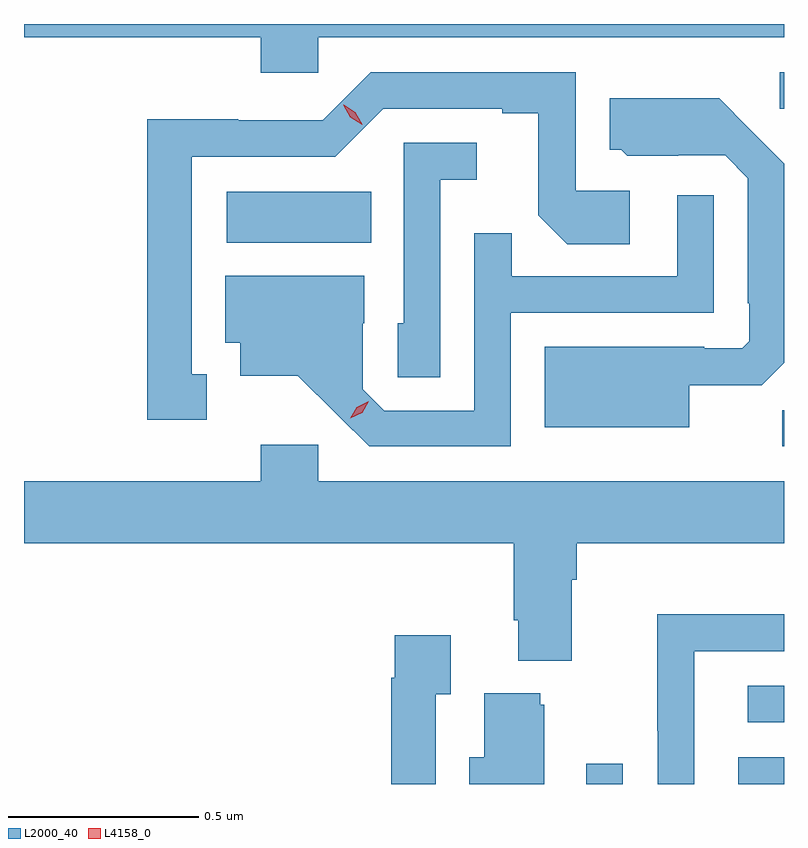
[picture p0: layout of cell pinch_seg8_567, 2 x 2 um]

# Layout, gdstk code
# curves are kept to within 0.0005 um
import gdstk
lib = gdstk.Library(unit=1e-6, precision=1e-09)
def R(c, l, rs):  # rectangles x0, y0, x1, y1
    for r in rs: c.add(gdstk.rectangle(r[:2], r[2:], *l))
def P(c, l, *ps):  # polygons
    for p in ps: c.add(gdstk.Polygon(p, *l))
L2000_40 = (2000, 40)
L4158_0 = (4158, 0)

pinch_seg8_567 = lib.new_cell('pinch_seg8_567')
R(pinch_seg8_567, L2000_40, [(142.983,1102.547,143.079,1102.6), (143.384,1102.547,143.504,1102.618), (143.409,1102.71,143.504,1102.806), (143.5,1103.436,143.504,1103.531), (142.038,1103.972,142.418,1104.106), (143.493,1104.324,143.504,1104.42)])
P(pinch_seg8_567, L2000_40, [(142.278,1104.512),(143.504,1104.512),(143.504,1104.547),(141.504,1104.547),(141.504,1104.512),(142.127,1104.512),(142.127,1104.419),(142.278,1104.419)],
  [(141.985,1103.625),(141.946,1103.625),(141.946,1104.198),(142.323,1104.198),(142.449,1104.324),(142.763,1104.324),(142.763,1104.312),(142.857,1104.312),(142.857,1104.044),(142.933,1103.968),(143.098,1103.968),(143.098,1104.108),(142.956,1104.108),(142.956,1104.42),(142.416,1104.42),(142.29,1104.294),(142.068,1104.294),(142.068,1104.296),(141.828,1104.296),(141.828,1103.505),(141.985,1103.505)],
  [(143.254,1103.597),(143.446,1103.597),(143.504,1103.655),(143.504,1104.179),(143.333,1104.352),(143.045,1104.352),(143.045,1104.216),(143.076,1104.216),(143.092,1104.2),(143.226,1104.2),(143.226,1104.201),(143.349,1104.201),(143.409,1104.141),(143.409,1103.812),(143.412,1103.812),(143.412,1103.712),(143.394,1103.694),(143.294,1103.694),(143.294,1103.698),(142.874,1103.698),(142.874,1103.486),(143.254,1103.486)],
  [(142.599,1104.137),(142.696,1104.137),(142.696,1104.234),(142.503,1104.234),(142.503,1103.76),(142.488,1103.76),(142.488,1103.617),(142.599,1103.617)],
  [(142.785,1103.787),(143.319,1103.787),(143.319,1104.097),(143.223,1104.097),(143.223,1103.883),(142.787,1103.883),(142.787,1103.996),(142.689,1103.996),(142.689,1103.529),(142.452,1103.529),(142.395,1103.586),(142.395,1103.76),(142.399,1103.76),(142.399,1103.884),(142.034,1103.884),(142.034,1103.708),(142.073,1103.708),(142.073,1103.621),(142.225,1103.621),(142.412,1103.436),(142.785,1103.436)],
  [(142.945,1103.084),(142.958,1103.084),(142.958,1103.18),(143.504,1103.18),(143.504,1103.344),(142.278,1103.344),(142.278,1103.44),(142.127,1103.44),(142.127,1103.344),(141.504,1103.344),(141.504,1103.18),(142.793,1103.18),(142.793,1102.978),(142.805,1102.978),(142.805,1102.871),(142.945,1102.871)],
  [(143.268,1102.896),(143.504,1102.896),(143.504,1102.994),(143.17,1102.994),(143.17,1102.687),(143.172,1102.687),(143.172,1102.547),(143.268,1102.547)],
  [(142.587,1102.783),(142.627,1102.783),(142.627,1102.939),(142.479,1102.939),(142.479,1102.826),(142.471,1102.826),(142.471,1102.547),(142.587,1102.547)],
  [(142.873,1102.755),(142.862,1102.755),(142.862,1102.786),(142.715,1102.786),(142.715,1102.618),(142.676,1102.618),(142.676,1102.547),(142.873,1102.547)])
P(pinch_seg8_567, L4158_0, [(142.362,1103.509),(142.362,1103.509),(142.38,1103.539),(142.411,1103.554),(142.411,1103.554),(142.411,1103.554),(142.394,1103.524),(142.363,1103.509)],
  [(142.394,1104.282),(142.362,1104.301),(142.344,1104.334),(142.344,1104.334),(142.345,1104.334),(142.376,1104.315),(142.394,1104.283),(142.394,1104.282)])

lib.write_gds('pinch_seg8_567.gds')
